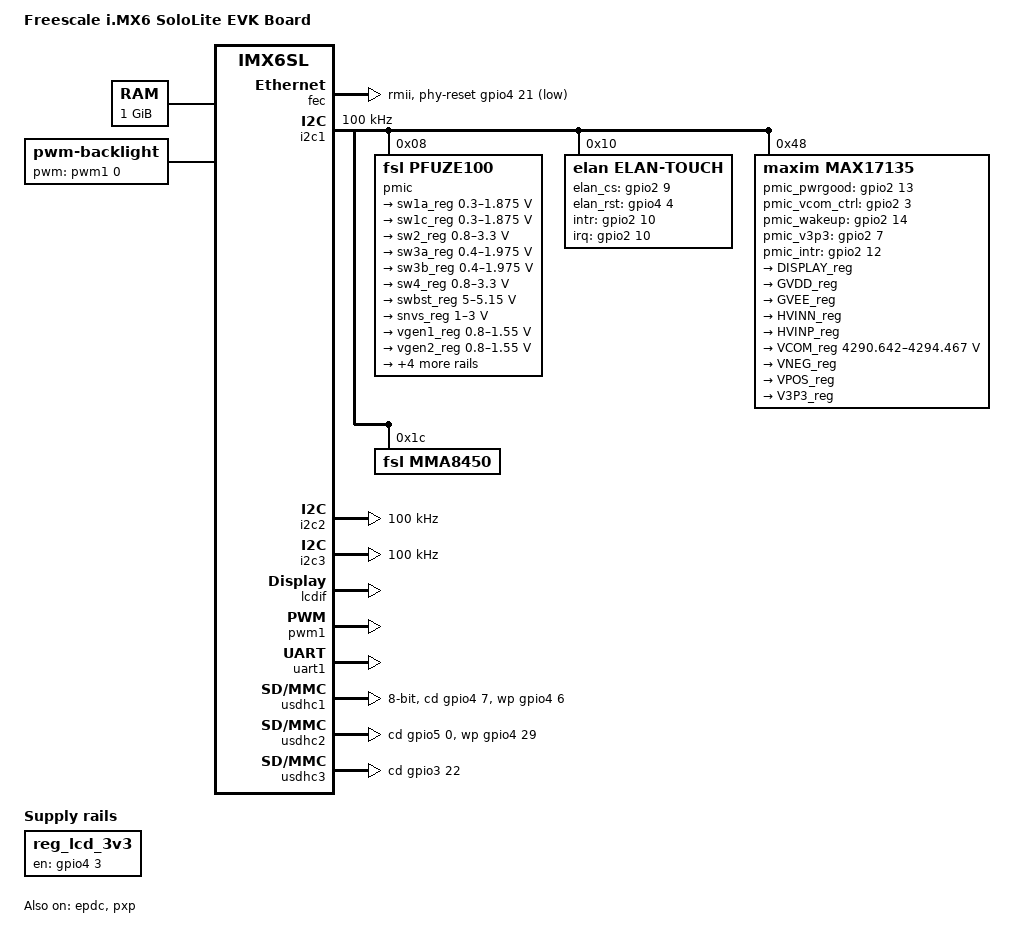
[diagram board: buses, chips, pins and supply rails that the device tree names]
/*
 * Copyright (C) 2013 Freescale Semiconductor, Inc.
 *
 * This program is free software; you can redistribute it and/or modify
 * it under the terms of the GNU General Public License version 2 as
 * published by the Free Software Foundation.
 */

/dts-v1/;

#include "imx6sl.dtsi"

/ {
	model = "Freescale i.MX6 SoloLite EVK Board";
	compatible = "fsl,imx6sl-evk", "fsl,imx6sl";

	memory {
		reg = <0x80000000 0x40000000>;
	};

	regulators {
		compatible = "simple-bus";

		reg_lcd_3v3: lcd-3v3 {
			compatible = "regulator-fixed";
			regulator-name = "lcd-3v3";
			gpio = <&gpio4 3 0>;
			enable-active-high;
		};
	};

	backlight {
		compatible = "pwm-backlight";
		pwms = <&pwm1 0 5000000>;
		brightness-levels = <0 4 8 16 32 64 128 255>;
		default-brightness-level = <6>;
	};
};

&epdc {
	pinctrl-names = "default";
	pinctrl-0 = <&pinctrl_epdc_0>;
	V3P3_supply = <&V3P3_reg>;
	VCOM_supply = <&VCOM_reg>;
	DISPLAY_supply = <&DISPLAY_reg>;
	status = "okay";
};

&cpu0 {
	arm-supply = <&sw1a_reg>;
	soc-supply = <&sw1c_reg>;
	pu-supply = <&pu_dummy>; /* use pu_dummy if VDDSOC share with VDDPU */
};

&fec {
	pinctrl-names = "default";
	pinctrl-0 = <&pinctrl_fec_1>;
	phy-mode = "rmii";
	phy-reset-gpios = <&gpio4 21 0>; /* GPIO4_21 */
	phy-reset-duration = <1>;
	status = "okay";
};

&gpc {
	fsl,cpu_pupscr_sw2iso = <0xf>;
	fsl,cpu_pupscr_sw = <0xf>;
	fsl,cpu_pdnscr_iso2sw = <0x1>;
	fsl,cpu_pdnscr_iso = <0x1>;
	fsl,ldo-bypass; /* use ldo-bypass, u-boot will check it and configure */
	pu-supply = <&pu_dummy>; /* ldo-bypass:use pu_dummy if VDDSOC share with VDDPU */
};

&gpu {
	pu-supply = <&pu_dummy>; /* ldo-bypass:use pu_dummy if VDDSOC share with VDDPU */
};

&i2c1 {
	clock-frequency = <100000>;
	pinctrl-names = "default";
	pinctrl-0 = <&pinctrl_i2c1_1>;
	status = "okay";

	pmic: pfuze100@08 {
		compatible = "fsl,pfuze100";
		reg = <0x08>;

		regulators {
			sw1a_reg: sw1ab {
				regulator-min-microvolt = <300000>;
				regulator-max-microvolt = <1875000>;
				regulator-boot-on;
				regulator-always-on;
				regulator-ramp-delay = <6250>;
			};

			sw1c_reg: sw1c {
				regulator-min-microvolt = <300000>;
				regulator-max-microvolt = <1875000>;
				regulator-boot-on;
				regulator-always-on;
				regulator-ramp-delay = <6250>;
			};

			sw2_reg: sw2 {
				regulator-min-microvolt = <800000>;
				regulator-max-microvolt = <3300000>;
				regulator-boot-on;
				regulator-always-on;
			};

			sw3a_reg: sw3a {
				regulator-min-microvolt = <400000>;
				regulator-max-microvolt = <1975000>;
				regulator-boot-on;
				regulator-always-on;
			};

			sw3b_reg: sw3b {
				regulator-min-microvolt = <400000>;
				regulator-max-microvolt = <1975000>;
				regulator-boot-on;
				regulator-always-on;
			};

			sw4_reg: sw4 {
				regulator-min-microvolt = <800000>;
				regulator-max-microvolt = <3300000>;
			};

			swbst_reg: swbst {
				regulator-min-microvolt = <5000000>;
				regulator-max-microvolt = <5150000>;
			};

			snvs_reg: vsnvs {
				regulator-min-microvolt = <1000000>;
				regulator-max-microvolt = <3000000>;
				regulator-boot-on;
				regulator-always-on;
			};

			vref_reg: vrefddr {
				regulator-boot-on;
				regulator-always-on;
			};

			vgen1_reg: vgen1 {
				regulator-min-microvolt = <800000>;
				regulator-max-microvolt = <1550000>;
			};

			vgen2_reg: vgen2 {
				regulator-min-microvolt = <800000>;
				regulator-max-microvolt = <1550000>;
			};

			vgen3_reg: vgen3 {
				regulator-min-microvolt = <1800000>;
				regulator-max-microvolt = <3300000>;
				regulator-always-on;
			};

			vgen4_reg: vgen4 {
				regulator-min-microvolt = <1800000>;
				regulator-max-microvolt = <3300000>;
				regulator-always-on;
			};

			vgen5_reg: vgen5 {
				regulator-min-microvolt = <1800000>;
				regulator-max-microvolt = <3300000>;
				regulator-always-on;
			};

			vgen6_reg: vgen6 {
				regulator-min-microvolt = <1800000>;
				regulator-max-microvolt = <3300000>;
				regulator-always-on;
			};
		};
	};

	elan@10 {
		compatible = "elan,elan-touch";
		reg = <0x10>;
		interrupt-parent = <&gpio2>;
		interrupts = <10 2>;
		gpio_elan_cs = <&gpio2 9 0>;
		gpio_elan_rst = <&gpio4 4 0>;
		gpio_intr = <&gpio2 10 0>;
		status = "okay";
	};

	max17135@48 {
		compatible = "maxim,max17135";
		reg = <0x48>;
		vneg_pwrup = <1>;
		gvee_pwrup = <2>;
		vpos_pwrup = <10>;
		gvdd_pwrup = <12>;
		gvdd_pwrdn = <1>;
		vpos_pwrdn = <2>;
		gvee_pwrdn = <8>;
		vneg_pwrdn = <10>;
		gpio_pmic_pwrgood = <&gpio2 13 0>;
		gpio_pmic_vcom_ctrl = <&gpio2 3 0>;
		gpio_pmic_wakeup = <&gpio2 14 0>;
		gpio_pmic_v3p3 = <&gpio2 7 0>;
		gpio_pmic_intr = <&gpio2 12 0>;

		regulators {
			DISPLAY_reg: DISPLAY {
				regulator-name = "DISPLAY";
			};

			GVDD_reg: GVDD {
				/* 20v */
				regulator-name = "GVDD";
			};

			GVEE_reg: GVEE {
				/* -22v */
				regulator-name = "GVEE";
			};

			HVINN_reg: HVINN {
				/* -22v */
				regulator-name = "HVINN";
			};

			HVINP_reg: HVINP {
				/* 20v */
				regulator-name = "HVINP";
			};

			VCOM_reg: VCOM {
				regulator-name = "VCOM";
				/* 2's-compliment, -4325000 */
				regulator-min-microvolt = <0xffbe0178>;
				/* 2's-compliment, -500000 */
				regulator-max-microvolt = <0xfff85ee0>;
			};

			VNEG_reg: VNEG {
				/* -15v */
				regulator-name = "VNEG";
			};

			VPOS_reg: VPOS {
				/* 15v */
				regulator-name = "VPOS";
			};

			V3P3_reg: V3P3 {
				regulator-name = "V3P3";
			};
		};
	};

	mma8450@1c {
		compatible = "fsl,mma8450";
		reg = <0x1c>;
	};
};

&i2c2 {
	clock-frequency = <100000>;
	pinctrl-names = "default";
	pinctrl-0 = <&pinctrl_i2c2_1>;
	status = "okay";
};

&i2c3 {
	clock-frequency = <100000>;
	pinctrl-names = "default";
	pinctrl-0 = <&pinctrl_i2c3_1>;
	status = "okay";
};

&iomuxc {
	pinctrl-names = "default";
	pinctrl-0 = <&pinctrl_hog>;

	hog {
		pinctrl_hog: hoggrp {
			fsl,pins = <
				MX6SL_PAD_KEY_ROW7__GPIO4_IO07    0x17059
				MX6SL_PAD_KEY_COL7__GPIO4_IO06    0x17059
				MX6SL_PAD_SD2_DAT7__GPIO5_IO00    0x17059
				MX6SL_PAD_SD2_DAT6__GPIO4_IO29    0x17059
				MX6SL_PAD_REF_CLK_32K__GPIO3_IO22 0x17059
				MX6SL_PAD_FEC_TX_CLK__GPIO4_IO21  0x80000000
				MX6SL_PAD_KEY_ROW5__GPIO4_IO03	  0x80000000
				MX6SL_PAD_EPDC_VCOM0__GPIO2_IO03  0x80000000
				MX6SL_PAD_EPDC_PWRSTAT__GPIO2_IO13 0x80000000
				MX6SL_PAD_EPDC_PWRCTRL0__GPIO2_IO07 0x80000000
				MX6SL_PAD_EPDC_PWRWAKEUP__GPIO2_IO14 0x80000000
				MX6SL_PAD_EPDC_PWRINT__GPIO2_IO12 0x80000000
				MX6SL_PAD_EPDC_PWRCTRL3__GPIO2_IO10 0x170b0
				MX6SL_PAD_EPDC_PWRCTRL2__GPIO2_IO09 0x80000000
				MX6SL_PAD_KEY_COL6__GPIO4_IO04 0x80000000
			>;
		};
	};
};

&lcdif {
	pinctrl-names = "default";
	pinctrl-0 = <&pinctrl_lcdif_dat_0
		     &pinctrl_lcdif_ctrl_0>;
	lcd-supply = <&reg_lcd_3v3>;
	display = <&display>;
	status = "okay";

	display: display {
		bits-per-pixel = <16>;
		bus-width = <24>;

		display-timings {
			native-mode = <&timing0>;
			timing0: timing0 {
				clock-frequency = <33500000>;
				hactive = <800>;
				vactive = <480>;
				hback-porch = <89>;
				hfront-porch = <164>;
				vback-porch = <23>;
				vfront-porch = <10>;
				hsync-len = <10>;
				vsync-len = <10>;
				hsync-active = <0>;
				vsync-active = <0>;
				de-active = <1>;
				pixelclk-active = <0>;
			};
		};
	};
};

&pwm1 {
	pinctrl-names = "default";
	pinctrl-0 = <&pinctrl_pwm1_0>;
	status = "okay";
};

&pxp {
	status = "okay";
};

&uart1 {
	pinctrl-names = "default";
	pinctrl-0 = <&pinctrl_uart1_1>;
	status = "okay";
};

&usdhc1 {
	pinctrl-names = "default";
	pinctrl-0 = <&pinctrl_usdhc1_1>;
	bus-width = <8>;
	cd-gpios = <&gpio4 7 0>;
	wp-gpios = <&gpio4 6 0>;
	status = "okay";
};

&usdhc2 {
	pinctrl-names = "default";
	pinctrl-0 = <&pinctrl_usdhc2_1>;
	cd-gpios = <&gpio5 0 0>;
	wp-gpios = <&gpio4 29 0>;
	status = "okay";
};

&usdhc3 {
	pinctrl-names = "default";
	pinctrl-0 = <&pinctrl_usdhc3_1>;
	cd-gpios = <&gpio3 22 0>;
	status = "okay";
};
